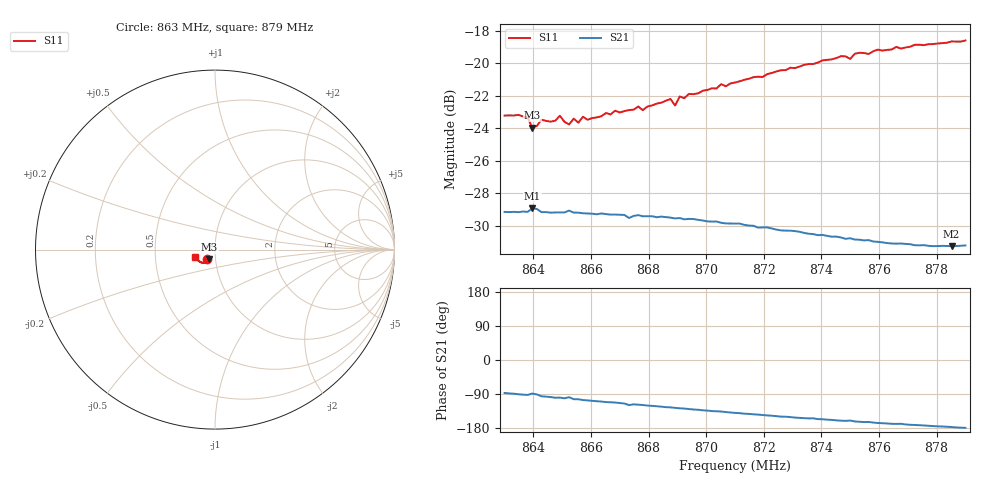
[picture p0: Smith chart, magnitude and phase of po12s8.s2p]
# HZ S RI R 50
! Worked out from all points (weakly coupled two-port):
!   101 points, 863 MHz to 879 MHz, reference 50 ohm
!   highest |S21| = -28.92 dB at 863.96 MHz (marker M1); lowest = -31.2 dB at 878.52 MHz (marker M2)
!   lowest |S11| = -24.0 dB at 863.96 MHz (marker M3), VSWR 1.14, Z = 46.6 - j5.12 ohm
!   |S11| at or under -10 dB: start of sweep to end of sweep
!   S12 and S22 are empty: the file has one direction only
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8.63e8  -0.043 -0.0541  0.00184 -0.0349  0 0  0 0
8.638e8  -0.0409 -0.0545  -0.00134 -0.0349  0 0  0 0
8.6396e8  -0.032 -0.0546  0.000912 -0.0358  0 0  0 0
8.6428e8  -0.0388 -0.0547  -0.00346 -0.0347  0 0  0 0
8.646e8  -0.0379 -0.0542  -0.00473 -0.0344  0 0  0 0
8.6492e8  -0.0403 -0.056  -0.00558 -0.0343  0 0  0 0
8.6524e8  -0.0316 -0.0567  -0.00497 -0.0349  0 0  0 0
8.654e8  -0.0376 -0.0562  -0.00806 -0.0338  0 0  0 0
8.6556e8  -0.0331 -0.0567  -0.0081 -0.0338  0 0  0 0
8.6572e8  -0.0355 -0.0586  -0.00937 -0.0333  0 0  0 0
8.6588e8  -0.035 -0.0572  -0.00984 -0.0331  0 0  0 0
8.6764e8  -0.0363 -0.0641  -0.016 -0.0302  0 0  0 0
8.678e8  -0.0356 -0.0623  -0.0163 -0.0297  0 0  0 0
8.6844e8  -0.0366 -0.0662  -0.0185 -0.0283  0 0  0 0
8.6876e8  -0.0383 -0.0676  -0.0193 -0.0275  0 0  0 0
8.6892e8  -0.0394 -0.0628  -0.0198 -0.0269  0 0  0 0
8.6908e8  -0.0403 -0.068  -0.0203 -0.0266  0 0  0 0
8.71e8  -0.0481 -0.0728  -0.0245 -0.0209  0 0  0 0
8.7372e8  -0.0656 -0.0748  -0.0268 -0.0131  0 0  0 0
8.7644e8  -0.0913 -0.0618  -0.0274 -0.0056  0 0  0 0
8.7852e8  -0.1075 -0.0455  -0.0274 -0.00152  0 0  0 0
8.79e8  -0.1107 -0.0394  -0.0276 -0.000452  0 0  0 0
